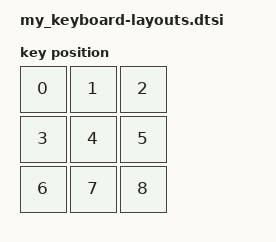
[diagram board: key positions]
#include <physical_layouts.dtsi>


/*
すべての物理レイアウトには行列変換が必要であり、オプションで kscan も持つことができます。
慣例により、これらは行列変換と kscan が定義されているファイル内の物理レイアウトに割り当てられます。
*/

/ {
    physical_layout0: physical_layout_0 {
        compatible = "zmk,physical-layout";
        display-name = "Default Layout";
    };

    /*
    keysプロパティに割り当てられているのは、キーマップのバインディングや行列変換などと同じ順序で並べられたキー記述の配列である。
    キー記述は、以下のプロパティを持つ <&key_physical_attrs w h x y r rx ry> の形状を持つ。

    Property	Type	    Description	                            Unit
    Width	    int (>0)	Key(cap) width	                        centi-"keyunit"
    Height	    int (>0)    Key(cap) height	                        centi-"keyunit"
    X	        uint	    Key X position (top-left point)	        centi-"keyunit"
    Y	        uint	    Key Y position (top-left point)	        centi-"keyunit"
    Rotation	int	        Key rotation (positive => clockwise)	centi-degree
    Rotation X	int	        Rotation origin X position	            centi-"keyunit"
    Rotation Y	int	        Rotation origin Y position	            centi-"keyunit"    
    */
    keys  //                         w   h    x    y     rot    rx    ry
            = <&key_physical_attrs 100 100    0    0       0     0     0>
            , <&key_physical_attrs 100 100  100    0       0     0     0>
            , <&key_physical_attrs 100 100  200    0       0     0     0>
            , <&key_physical_attrs 100 100    0  100       0     0     0>
            , <&key_physical_attrs 100 100  100  100       0     0     0>
            , <&key_physical_attrs 100 100  200  100       0     0     0>
            , <&key_physical_attrs 100 100    0  200       0     0     0>
            , <&key_physical_attrs 100 100  100  200       0     0     0>
            , <&key_physical_attrs 100 100  200  200       0     0     0>
            ;
};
